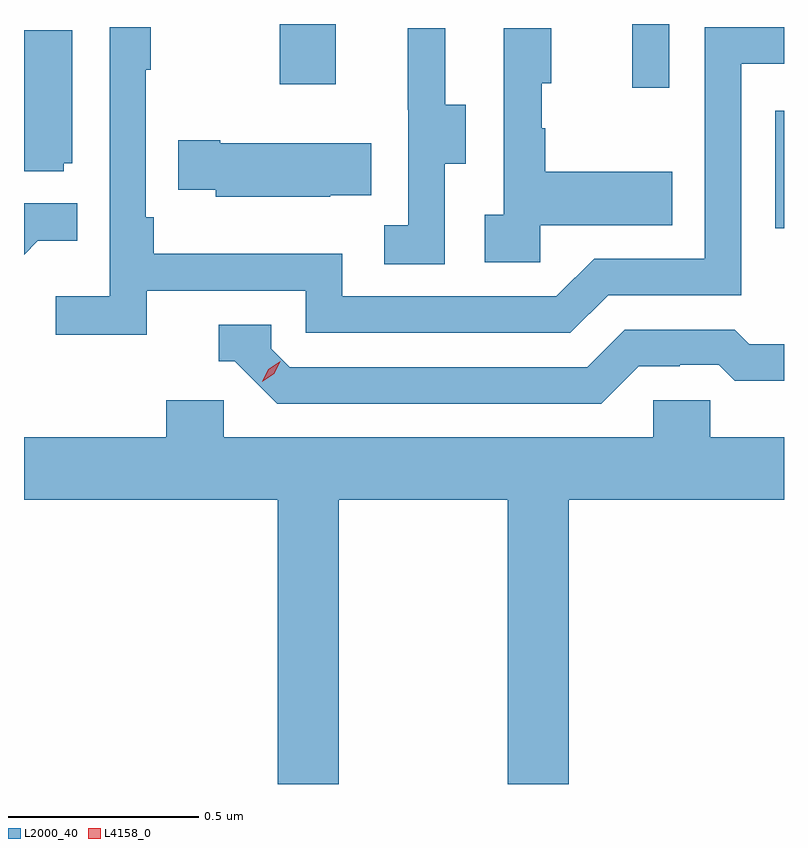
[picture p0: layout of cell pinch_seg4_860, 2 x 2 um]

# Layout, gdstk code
import gdstk
lib = gdstk.Library(unit=1e-6, precision=1e-09)
def R(c, l, rs):  # rectangles x0, y0, x1, y1
    for r in rs: c.add(gdstk.rectangle(r[:2], r[2:], *l))
def P(c, l, *ps):  # polygons
    for p in ps: c.add(gdstk.Polygon(p, *l))
L2000_40 = (2000, 40)
L4158_0 = (4158, 0)

pinch_seg4_860 = lib.new_cell('pinch_seg4_860')
R(pinch_seg4_860, L2000_40, [(877.974,800.199,877.997,800.508), (877.598,800.568,877.695,800.736), (876.67,800.577,876.817,800.736)])
P(pinch_seg4_860, L2000_40, [(876.32,800.034),(876.738,800.034),(876.738,799.923),(877.435,799.923),(877.534,800.022),(877.884,800.022),(877.884,800.631),(877.997,800.631),(877.997,800.727),(877.788,800.727),(877.788,800.118),(877.497,800.118),(877.398,800.019),(876.834,800.019),(876.834,800.131),(876.338,800.131),(876.338,800.227),(876.318,800.227),(876.318,800.615),(876.331,800.615),(876.331,800.728),(876.222,800.728),(876.222,800.02),(876.081,800.02),(876.081,799.918),(876.32,799.918)],
  [(877.356,800.207),(877.703,800.207),(877.703,800.347),(877.369,800.347),(877.369,800.462),(877.359,800.462),(877.359,800.58),(877.384,800.58),(877.384,800.725),(877.26,800.725),(877.26,800.234),(877.209,800.234),(877.209,800.109),(877.356,800.109)],
  [(877.104,800.368),(877.159,800.368),(877.159,800.523),(877.105,800.523),(877.105,800.725),(877.007,800.725),(877.007,800.511),(877.008,800.511),(877.008,800.207),(876.945,800.207),(876.945,800.104),(877.104,800.104)],
  [(876.102,800.37),(876.124,800.37),(876.124,800.719),(875.997,800.719),(875.997,800.349),(876.102,800.349)],
  [(876.803,800.285),(876.911,800.285),(876.911,800.422),(876.514,800.422),(876.514,800.43),(876.403,800.43),(876.403,800.3),(876.501,800.3),(876.501,800.282),(876.803,800.282)],
  [(876.033,800.165),(876.137,800.165),(876.137,800.264),(875.997,800.264),(875.997,800.129)],
  [(877.615,799.836),(877.722,799.836),(877.722,799.839),(877.825,799.839),(877.867,799.797),(877.997,799.797),(877.997,799.893),(877.906,799.893),(877.867,799.932),(877.578,799.932),(877.479,799.833),(876.696,799.833),(876.648,799.881),(876.648,799.944),(876.509,799.944),(876.509,799.848),(876.552,799.848),(876.663,799.737),(877.516,799.737)],
  [(876.825,799.484),(877.27,799.484),(877.27,798.736),(877.43,798.736),(877.43,799.484),(877.997,799.484),(877.997,799.648),(877.803,799.648),(877.803,799.746),(877.653,799.746),(877.653,799.648),(876.522,799.648),(876.522,799.746),(876.371,799.746),(876.371,799.648),(875.997,799.648),(875.997,799.484),(876.665,799.484),(876.665,798.736),(876.825,798.736)])
P(pinch_seg4_860, L4158_0, [(876.624,799.795),(876.624,799.796),(876.64,799.828),(876.671,799.848),(876.671,799.848),(876.671,799.847),(876.655,799.815),(876.624,799.795)])

lib.write_gds('pinch_seg4_860.gds')
